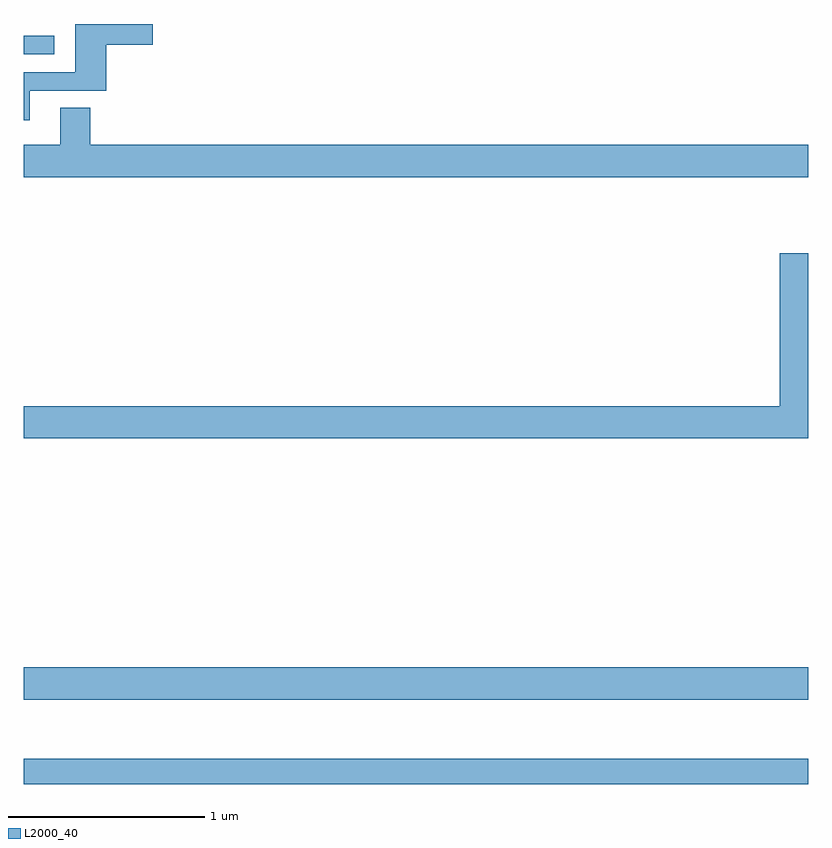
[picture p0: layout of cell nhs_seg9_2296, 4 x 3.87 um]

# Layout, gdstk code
import gdstk
lib = gdstk.Library(unit=1e-6, precision=1e-09)
def R(c, l, rs):  # rectangles x0, y0, x1, y1
    for r in rs: c.add(gdstk.rectangle(r[:2], r[2:], *l))
def P(c, l, *ps):  # polygons
    for p in ps: c.add(gdstk.Polygon(p, *l))
L2000_40 = (2000, 40)

nhs_seg9_2296 = lib.new_cell('nhs_seg9_2296')
R(nhs_seg9_2296, L2000_40, [(241,1226.626,245,1226.755), (241,1227.056,245,1227.22), (241,1230.345,241.156,1230.441)])
P(nhs_seg9_2296, L2000_40, [(241.03,1230.159),(241.421,1230.159),(241.421,1230.395),(241.657,1230.395),(241.657,1230.5),(241.262,1230.5),(241.262,1230.255),(241,1230.255),(241,1230.009),(241.03,1230.009)],
  [(245,1229.884),(241.34,1229.884),(241.34,1230.074),(241.187,1230.074),(241.187,1229.884),(241,1229.884),(241,1229.72),(245,1229.72)],
  [(245,1229.332),(244.853,1229.332),(244.853,1228.552),(241,1228.552),(241,1228.388),(245,1228.388)])

lib.write_gds('nhs_seg9_2296.gds')
